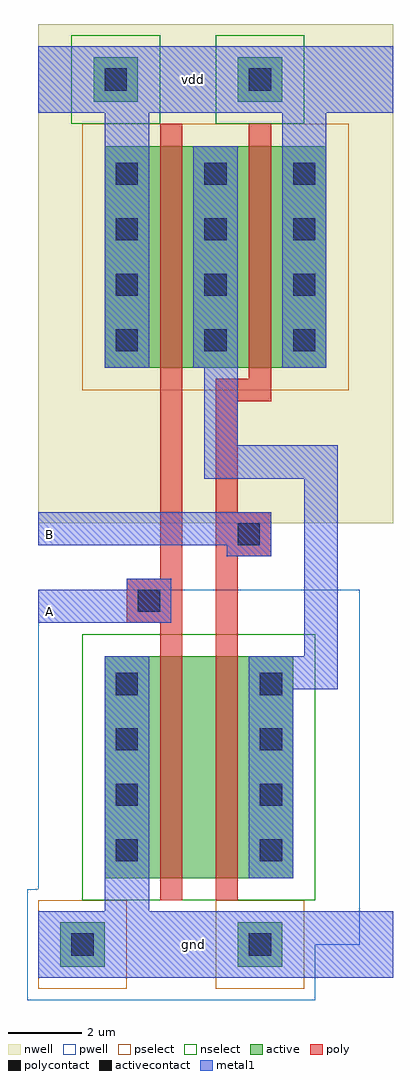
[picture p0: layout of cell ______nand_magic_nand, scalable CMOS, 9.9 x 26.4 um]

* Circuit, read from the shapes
.subckt ______nand_magic_nand A B gnd vdd
M1 n1 A gnd gnd nfet w=6u l=0.6u
M2 n2 B n1 gnd nfet w=6u l=0.6u
M3 n2 A vdd vdd pfet w=6u l=0.6u
M4 vdd B n2 vdd pfet w=6u l=0.6u
.ends

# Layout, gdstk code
import gdstk
lib = gdstk.Library(unit=1e-6, precision=1e-09)
def R(c, l, rs):  # rectangles x0, y0, x1, y1
    for r in rs: c.add(gdstk.rectangle(r[:2], r[2:], *l))
def A(c, l, x, y, w, h, nx, ny, dx, dy):  # array of equal rectangles
    R(c, l, [(x+i*dx, y+j*dy, x+i*dx+w, y+j*dy+h) for i in range(nx) for j in range(ny)])
pwell = (41, 0)
nwell = (42, 0)
active = (43, 0)
pselect = (44, 0)
nselect = (45, 0)
poly = (46, 0)
polycontact = (47, 0)
activecontact = (48, 0)
metal1 = (49, 0)

c_______nand_magic_nand = lib.new_cell('______nand_magic_nand')
R(c_______nand_magic_nand, pwell, [(-1.5,-1.5,6.3,0), (-1.5,0,7.5,1.5), (-1.2,1.5,7.5,9.6)])
R(c_______nand_magic_nand, nwell, [(-1.2,11.4,8.4,24.9)])
R(c_______nand_magic_nand, active, [(-0.6,-0.6,0.6,0.6), (4.2,-0.6,5.4,0.6), (0.6,1.8,5.7,7.8), (0.6,15.6,6.6,21.6), (0.3,22.8,1.5,24), (4.2,22.8,5.4,24)])
R(c_______nand_magic_nand, pselect, [(-1.2,-1.2,1.2,1.2), (3.6,-1.2,6,1.2), (0,15,7.2,22.2)])
R(c_______nand_magic_nand, nselect, [(0,1.2,6.3,8.4), (-0.3,22.2,2.1,24.6), (3.6,22.2,6,24.6)])
R(c_______nand_magic_nand, poly, [(2.1,1.2,2.7,8.7), (3.6,1.2,4.2,10.5), (1.2,8.7,2.7,9.9), (2.1,9.9,2.7,22.2), (3.6,10.5,5.1,11.7), (3.6,11.7,4.2,14.7), (3.6,14.7,5.1,15.3), (4.5,15.3,5.1,22.2)])
R(c_______nand_magic_nand, polycontact, [(1.5,9,2.1,9.6), (4.2,10.8,4.8,11.4)])
A(c_______nand_magic_nand, activecontact, 0.9, 2.25, 0.6, 0.6, 1, 4, 0, 1.5)
A(c_______nand_magic_nand, activecontact, 4.8, 2.25, 0.6, 0.6, 1, 4, 0, 1.5)
A(c_______nand_magic_nand, activecontact, 0.9, 16.05, 0.6, 0.6, 3, 4, 2.4, 1.5)
R(c_______nand_magic_nand, activecontact, [(-0.3,-0.3,0.3,0.3), (4.5,-0.3,5.1,0.3), (0.6,23.1,1.2,23.7), (4.5,23.1,5.1,23.7)])
R(c_______nand_magic_nand, metal1, [(-1.2,-0.9,8.4,0.9), (0.6,0.9,1.8,7.8), (4.5,1.8,5.7,6.9), (4.5,6.9,6.9,7.8), (6,7.8,6.9,12.6), (-1.2,8.7,2.4,9.6), (1.2,9.6,2.4,9.9), (3.9,10.5,5.1,10.8), (-1.2,10.8,5.1,11.7), (3.3,12.6,6.9,13.5), (3.3,13.5,4.2,15.6), (0.6,15.6,1.8,22.5), (3,15.6,4.2,21.6), (5.4,15.6,6.6,22.5), (-1.2,22.5,8.4,24.3)])
c_______nand_magic_nand.add(gdstk.Label('gnd', (3,0), layer=49, texttype=0))
c_______nand_magic_nand.add(gdstk.Label('vdd', (3,23.4), layer=49, texttype=0))
c_______nand_magic_nand.add(gdstk.Label('A', (-0.9,9), layer=49, texttype=0))
c_______nand_magic_nand.add(gdstk.Label('B', (-0.9,11.1), layer=49, texttype=0))

lib.write_gds('______nand_magic_nand.gds')
